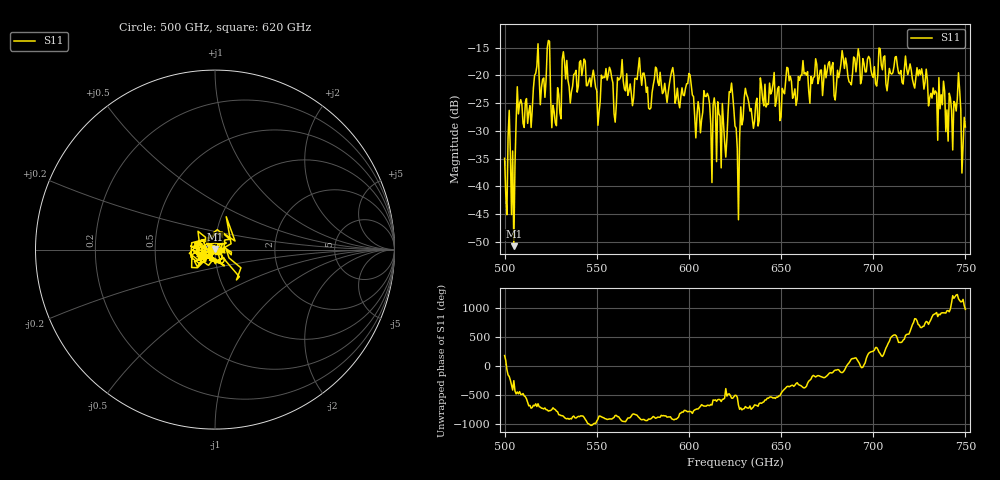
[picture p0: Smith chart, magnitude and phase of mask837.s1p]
!Created with skrf (http://scikit-rf.org).
# GHz S MA R 50.0
!freq magS11 angS11
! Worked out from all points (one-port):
!   401 points, 500 GHz to 750 GHz, reference 50 ohm
!   lowest |S11| = -50.8 dB at 505 GHz (marker M1), VSWR 1.01, Z = 49.9 + j0.276 ohm
!   |S11| at or under -10 dB: start of sweep to end of sweep
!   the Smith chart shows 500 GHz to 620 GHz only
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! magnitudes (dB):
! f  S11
! 500 GHz  -35.0
! 503.1 GHz  -34.2
! 505 GHz  -50.8
! 508.1 GHz  -25.1
! 513.8 GHz  -25.4
! 516.9 GHz  -19.6
! 520.6 GHz  -20.7
! 523.8 GHz  -13.7
! 526.9 GHz  -26.5
! 531.2 GHz  -17.1
! 542.5 GHz  -18.6
! 550.6 GHz  -29.0
! 562.5 GHz  -20.6
! 593.8 GHz  -22.3
! 600 GHz  -19.6
! 605 GHz  -24.7
! 609.4 GHz  -23.8
! 618.8 GHz  -28.6
! 623.1 GHz  -21.4
! 625 GHz  -29.1
! 626.2 GHz  -33.2
! 631.2 GHz  -23.4
! 656.2 GHz  -24.1
! 687.5 GHz  -21.3
! 718.8 GHz  -19.9
! 741.9 GHz  -24.1
! 746.2 GHz  -19.5
! 750 GHz  -29.3
